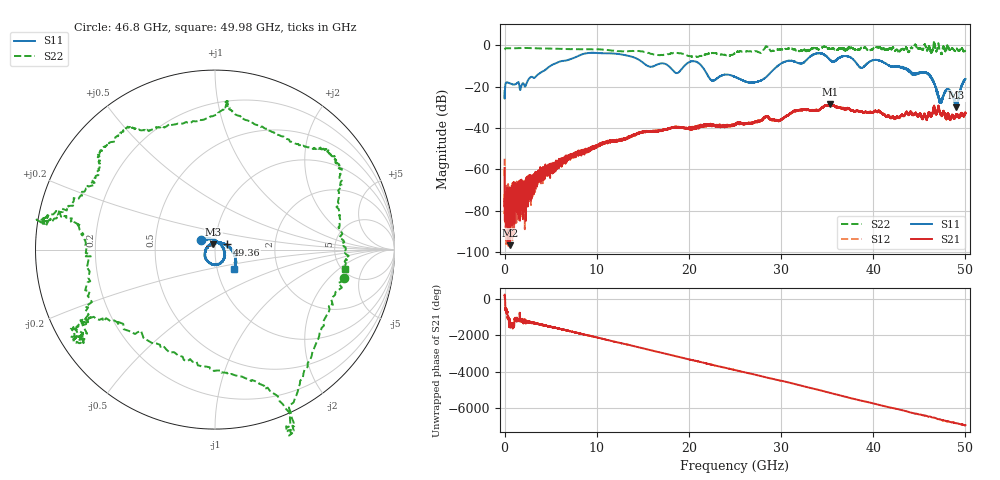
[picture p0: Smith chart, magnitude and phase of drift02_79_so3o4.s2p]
!Created with skrf (http://scikit-rf.org).
# Hz S RI R 50.0
!freq ReS11 ImS11 ReS21 ImS21 ReS12 ImS12 ReS22 ImS22
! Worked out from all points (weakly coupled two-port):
!   10001 points, 300 kHz to 50 GHz, reference 50 ohm
!   highest |S21| = -28.51 dB at 35.32 GHz (marker M1); lowest = -96.7 dB at 595.3 MHz (marker M2)
!   lowest |S11| = -30.1 dB at 49.02 GHz (marker M3), VSWR 1.06, Z = 49 + j2.94 ohm
!   |S11| at or under -10 dB: start of sweep to 4.956 GHz; 21.38 GHz to 29.62 GHz (8.238 GHz wide, 32.3 % of centre); 41.84 GHz to end of sweep (the widest 3 of 9)
!   |S22| runs from -5.7 to 2.3 dB; largest |S21 - S12| = 0.0036
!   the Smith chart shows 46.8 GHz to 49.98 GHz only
!   S11 on the Smith chart (normalised r, x): 46.8 GHz: 0.85, +0.09; 49.36 GHz: 1.14, +0.07; 49.98 GHz: 1.21, -0.26
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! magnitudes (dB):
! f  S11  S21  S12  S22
! 300 kHz  -22.1  -59.2  -54.8  -2.1
! 255.3 MHz  -17.9  -81.5  -70.0  -1.4
! 595.3 MHz  -18.4  -96.7  -79.9  -1.5
! 1.875 GHz  -19.0  -66.1  -68.0  -1.3
! 8.335 GHz  -4.5  -52.1  -51.6  -1.9
! 16.67 GHz  -9.1  -41.1  -41.3  -4.7
! 18.71 GHz  -13.4  -39.5  -39.5  -3.7
! 20.6 GHz  -7.7  -39.5  -40.0  -5.7
! 22.5 GHz  -17.1  -38.6  -38.8  -3.7
! 25 GHz  -15.3  -38.5  -38.3  -3.9
! 27.44 GHz  -17.6  -36.7  -36.4  -3.1
! 33.34 GHz  -4.9  -31.3  -31.4  -1.6
! 35.32 GHz  -7.1  -28.5  -28.8  -1.3
! 41.67 GHz  -9.6  -34.2  -34.2  -2.0
! 45.79 GHz  -13.5  -35.5  -35.8  -2.3
! 46.8 GHz  -20.4  -33.0  -32.7  -2.7
! 47.28 GHz  -27.1  -32.9  -33.1  -3.3
! 48.13 GHz  -21.4  -33.0  -33.2  -0.6
! 49.02 GHz  -30.1  -34.4  -33.9  -2.0
! 49.36 GHz  -22.9  -34.4  -34.3  -2.7
! 49.98 GHz  -16.4  -32.6  -32.5  -2.7
! 50 GHz  -16.3  -32.7  -32.8  -2.7
